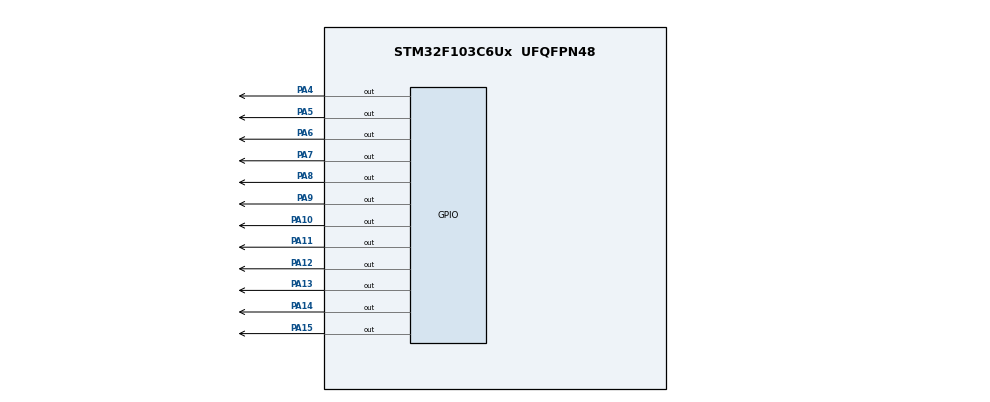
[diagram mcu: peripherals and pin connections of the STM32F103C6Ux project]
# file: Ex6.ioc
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Mcu.Family=STM32F1
Mcu.Name=STM32F103C6Ux
Mcu.Package=UFQFPN48
NVIC.PriorityGroup=NVIC_PRIORITYGROUP_4
NVIC.TIM1_UP_IRQn=true\:15\:0\:false\:false\:true\:false\:true
NVIC.TimeBase=TIM1_UP_IRQn
NVIC.TimeBaseIP=TIM1
PA10.Signal=GPIO_Output
PA11.Signal=GPIO_Output
PA12.Signal=GPIO_Output
PA13.Signal=GPIO_Output
PA14.Signal=GPIO_Output
PA15.Signal=GPIO_Output
PA4.Signal=GPIO_Output
PA5.Signal=GPIO_Output
PA6.Signal=GPIO_Output
PA7.Signal=GPIO_Output
PA8.Signal=GPIO_Output
PA9.Signal=GPIO_Output
ProjectManager.HeapSize=0x200
ProjectManager.StackSize=0x400
ProjectManager.TargetToolchain=STM32CubeIDE
RCC.APB1Freq_Value=8000000
RCC.APB2Freq_Value=8000000
VP_SYS_VS_ND.Mode=No_Debug
VP_SYS_VS_tim1.Mode=TIM1
board=custom

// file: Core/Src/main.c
/* USER CODE BEGIN Header */
/**
  ******************************************************************************
  * @file           : main.c
  * @brief          : Main program body
  ******************************************************************************
  * @attention
  *
  * <h2><center>&copy; Copyright (c) 2026 STMicroelectronics.
  * All rights reserved.</center></h2>
  *
  * This software component is licensed by ST under BSD 3-Clause license,
  * the "License"; You may not use this file except in compliance with the
  * License. You may obtain a copy of the License at:
  *                        opensource.org/licenses/BSD-3-Clause
  *
  ******************************************************************************
  */
/* USER CODE END Header */
#include "main.h"

void SystemClock_Config(void);
static void MX_GPIO_Init(void);

/* USER CODE BEGIN 0 */
void clearAllClock(void)
{
    HAL_GPIO_WritePin(GPIOA, GPIO_PIN_4, GPIO_PIN_RESET);
    HAL_GPIO_WritePin(GPIOA, GPIO_PIN_5, GPIO_PIN_RESET);
    HAL_GPIO_WritePin(GPIOA, GPIO_PIN_6, GPIO_PIN_RESET);
    HAL_GPIO_WritePin(GPIOA, GPIO_PIN_7, GPIO_PIN_RESET);
    HAL_GPIO_WritePin(GPIOA, GPIO_PIN_8, GPIO_PIN_RESET);
    HAL_GPIO_WritePin(GPIOA, GPIO_PIN_9, GPIO_PIN_RESET);
    HAL_GPIO_WritePin(GPIOA, GPIO_PIN_10, GPIO_PIN_RESET);
    HAL_GPIO_WritePin(GPIOA, GPIO_PIN_11, GPIO_PIN_RESET);
    HAL_GPIO_WritePin(GPIOA, GPIO_PIN_12, GPIO_PIN_RESET);
    HAL_GPIO_WritePin(GPIOA, GPIO_PIN_13, GPIO_PIN_RESET);
    HAL_GPIO_WritePin(GPIOA, GPIO_PIN_14, GPIO_PIN_RESET);
    HAL_GPIO_WritePin(GPIOA, GPIO_PIN_15, GPIO_PIN_RESET);
}

void setNumberOnClock(int num)
{
    switch (num)
    {
        case 0:  // 12 o'clock
            HAL_GPIO_WritePin(GPIOA, GPIO_PIN_15, GPIO_PIN_SET);
            break;

        case 1:
            HAL_GPIO_WritePin(GPIOA, GPIO_PIN_4, GPIO_PIN_SET);
            break;

        case 2:
            HAL_GPIO_WritePin(GPIOA, GPIO_PIN_5, GPIO_PIN_SET);
            break;

        case 3:
            HAL_GPIO_WritePin(GPIOA, GPIO_PIN_6, GPIO_PIN_SET);
            break;

        case 4:
            HAL_GPIO_WritePin(GPIOA, GPIO_PIN_7, GPIO_PIN_SET);
            break;

        case 5:
            HAL_GPIO_WritePin(GPIOA, GPIO_PIN_8, GPIO_PIN_SET);
            break;

        case 6:
            HAL_GPIO_WritePin(GPIOA, GPIO_PIN_9, GPIO_PIN_SET);
            break;

        case 7:
            HAL_GPIO_WritePin(GPIOA, GPIO_PIN_10, GPIO_PIN_SET);
            break;

        case 8:
            HAL_GPIO_WritePin(GPIOA, GPIO_PIN_11, GPIO_PIN_SET);
            break;

        case 9:
            HAL_GPIO_WritePin(GPIOA, GPIO_PIN_12, GPIO_PIN_SET);
            break;

        case 10:
            HAL_GPIO_WritePin(GPIOA, GPIO_PIN_13, GPIO_PIN_SET);
            break;

        case 11:
            HAL_GPIO_WritePin(GPIOA, GPIO_PIN_14, GPIO_PIN_SET);
            break;
    }
}

void clearNumberOnClock(int num)
{
    switch (num)
    {
        case 0:
            HAL_GPIO_WritePin(GPIOA, GPIO_PIN_4, GPIO_PIN_RESET);
            break;

        case 1:
            HAL_GPIO_WritePin(GPIOA, GPIO_PIN_5, GPIO_PIN_RESET);
            break;

        case 2:
            HAL_GPIO_WritePin(GPIOA, GPIO_PIN_6, GPIO_PIN_RESET);
            break;

        case 3:
            HAL_GPIO_WritePin(GPIOA, GPIO_PIN_7, GPIO_PIN_RESET);
            break;

        case 4:
            HAL_GPIO_WritePin(GPIOA, GPIO_PIN_8, GPIO_PIN_RESET);
            break;

        case 5:
            HAL_GPIO_WritePin(GPIOA, GPIO_PIN_9, GPIO_PIN_RESET);
            break;

        case 6:
            HAL_GPIO_WritePin(GPIOA, GPIO_PIN_10, GPIO_PIN_RESET);
            break;

        case 7:
            HAL_GPIO_WritePin(GPIOA, GPIO_PIN_11, GPIO_PIN_RESET);
            break;

        case 8:
            HAL_GPIO_WritePin(GPIOA, GPIO_PIN_12, GPIO_PIN_RESET);
            break;

        case 9:
            HAL_GPIO_WritePin(GPIOA, GPIO_PIN_13, GPIO_PIN_RESET);
            break;

        case 10:
            HAL_GPIO_WritePin(GPIOA, GPIO_PIN_14, GPIO_PIN_RESET);
            break;

        case 11:
            HAL_GPIO_WritePin(GPIOA, GPIO_PIN_15, GPIO_PIN_RESET);
            break;
    }
}
/* USER CODE END 0 */

int main(void)
{

  /* MCU Configuration--------------------------------------------------------*/

  /* Reset of all peripherals, Initializes the Flash interface and the Systick. */
  HAL_Init();

  /* Configure the system clock */
  SystemClock_Config();

  /* Initialize all configured peripherals */
  MX_GPIO_Init();

  /* Infinite loop */
  /* USER CODE BEGIN WHILE */
  int hour = 8;
  int minute = 30;
  int second = 0;
  while (1)
  {
    /* USER CODE END WHILE */

    /* USER CODE BEGIN 3 */
	  int hourPosition;
	  int minutePosition;
	  int secondPosition;

	      /* Turn everything off first */
	      clearAllClock();

	      /* Convert time to 12 clock positions */
	      hourPosition   = hour % 12;
	      minutePosition = minute / 5;
	      secondPosition = second / 5;

	      /* Turn ON hour, minute and second LEDs */
	      setNumberOnClock(hourPosition);
	      setNumberOnClock(minutePosition);
	      setNumberOnClock(secondPosition);

	      /* Increase time by one second */
	      second++;

	      if (second >= 60)
	      {
	          second = 0;
	          minute++;
	      }

	      if (minute >= 60)
	      {
	          minute = 0;
	          hour++;
	      }

	      if (hour >= 12)
	      {
	          hour = 0;
	      }

	      HAL_Delay(1000);
  }
  /* USER CODE END 3 */
}

void SystemClock_Config(void)
{
  RCC_OscInitTypeDef RCC_OscInitStruct = {0};
  RCC_ClkInitTypeDef RCC_ClkInitStruct = {0};

  /** Initializes the RCC Oscillators according to the specified parameters
  * in the RCC_OscInitTypeDef structure.
  */
  RCC_OscInitStruct.OscillatorType = RCC_OSCILLATORTYPE_HSI;
  RCC_OscInitStruct.HSIState = RCC_HSI_ON;
  RCC_OscInitStruct.HSICalibrationValue = RCC_HSICALIBRATION_DEFAULT;
  RCC_OscInitStruct.PLL.PLLState = RCC_PLL_NONE;
  if (HAL_RCC_OscConfig(&RCC_OscInitStruct) != HAL_OK)
  {
    Error_Handler();
  }
  /** Initializes the CPU, AHB and APB buses clocks
  */
  RCC_ClkInitStruct.ClockType = RCC_CLOCKTYPE_HCLK|RCC_CLOCKTYPE_SYSCLK
                              |RCC_CLOCKTYPE_PCLK1|RCC_CLOCKTYPE_PCLK2;
  RCC_ClkInitStruct.SYSCLKSource = RCC_SYSCLKSOURCE_HSI;
  RCC_ClkInitStruct.AHBCLKDivider = RCC_SYSCLK_DIV1;
  RCC_ClkInitStruct.APB1CLKDivider = RCC_HCLK_DIV1;
  RCC_ClkInitStruct.APB2CLKDivider = RCC_HCLK_DIV1;

  if (HAL_RCC_ClockConfig(&RCC_ClkInitStruct, FLASH_LATENCY_0) != HAL_OK)
  {
    Error_Handler();
  }
}

static void MX_GPIO_Init(void)
{
  GPIO_InitTypeDef GPIO_InitStruct = {0};

  /* GPIO Ports Clock Enable */
  __HAL_RCC_GPIOA_CLK_ENABLE();

  /*Configure GPIO pin Output Level */
  HAL_GPIO_WritePin(GPIOA, GPIO_PIN_4|GPIO_PIN_5|GPIO_PIN_6|GPIO_PIN_7
                          |GPIO_PIN_8|GPIO_PIN_9|GPIO_PIN_10|GPIO_PIN_11
                          |GPIO_PIN_12|GPIO_PIN_13|GPIO_PIN_14|GPIO_PIN_15, GPIO_PIN_RESET);

  /*Configure GPIO pins : PA4 PA5 PA6 PA7
                           PA8 PA9 PA10 PA11
                           PA12 PA13 PA14 PA15 */
  GPIO_InitStruct.Pin = GPIO_PIN_4|GPIO_PIN_5|GPIO_PIN_6|GPIO_PIN_7
                          |GPIO_PIN_8|GPIO_PIN_9|GPIO_PIN_10|GPIO_PIN_11
                          |GPIO_PIN_12|GPIO_PIN_13|GPIO_PIN_14|GPIO_PIN_15;
  GPIO_InitStruct.Mode = GPIO_MODE_OUTPUT_PP;
  GPIO_InitStruct.Pull = GPIO_NOPULL;
  GPIO_InitStruct.Speed = GPIO_SPEED_FREQ_LOW;
  HAL_GPIO_Init(GPIOA, &GPIO_InitStruct);

}

void HAL_TIM_PeriodElapsedCallback(TIM_HandleTypeDef *htim)
{
  if (htim->Instance == TIM1) {
    HAL_IncTick();
  }
}

void Error_Handler(void)
{
  __disable_irq();
  while (1)
  {
  }
}

/************************ (C) COPYRIGHT STMicroelectronics *****END OF FILE****/
